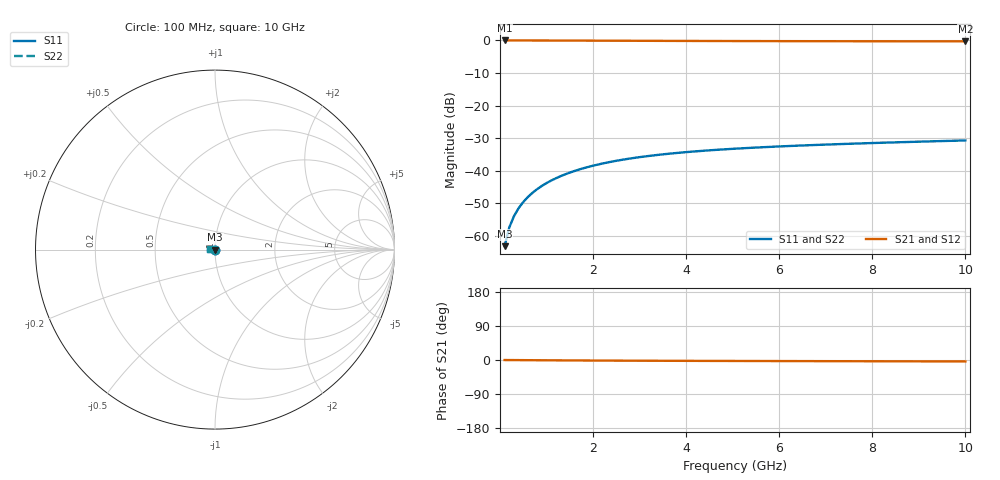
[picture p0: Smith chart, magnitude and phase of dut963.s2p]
! Touchstone file exported from HFSS 2024.1.0
!  File:  C:/UserFiles/LocalFiles/RDL_TSV_Batchsim/temp_TSV1_963_1779950617.aedt
!  Generated:  02:49:52 PM May 28, 2026
!  Design:  TSV1
!  Project:  temp_TSV1_963_1779950617
!  Setup:  Setup1
!  Solution:  Sweep
! Variables:
!  dtsv = 7.06um
!  hbump = 3um
!  htsv = 57.03um
!  lrdl = 252.1521522um
!  p = 40
!  p1 = 41.9um
!  t = 500um
!  trdl = 3um
!  wrdl = 24.89489489um
# GHz S MA R 50.000000
! Terminal data exported
! Port[1] = TSV22_T1
! Port[2] = TSV22_T2
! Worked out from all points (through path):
!   100 points, 100 MHz to 10 GHz, reference 50 ohm
!   highest |S21| = 0.00 dB at 100 MHz (marker M1); lowest = -0.3 dB at 10 GHz (marker M2)
!   lowest |S11| = -63.2 dB at 100 MHz (marker M3), VSWR 1.00, Z = 50 - j0.0655 ohm
!   |S11| at or under -10 dB: start of sweep to end of sweep
!   |S22| runs from -63.2 to -30.7 dB; largest |S21 - S12| = 1.3e-14
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0.1  0.0006895 -71.6  0.9997 -0.1  0.9997 -0.1  0.0006895 -71.6
! Gamma 0 0 0 0
! Port Impedance 50 0 50 0
0.2  0.001335 -83.1  0.9997 -0.2  0.9997 -0.2  0.001335 -83.1
0.3  0.001987 -88.3  0.9995 -0.2  0.9995 -0.2  0.001987 -88.3
0.4  0.002638 -91.8  0.9994 -0.3  0.9994 -0.3  0.002638 -91.8
0.5  0.003286 -94.6  0.9992 -0.4  0.9992 -0.4  0.003286 -94.6
0.6  0.003928 -97.1  0.999 -0.5  0.999 -0.5  0.003928 -97.1
0.7  0.004564 -99.3  0.9987 -0.6  0.9987 -0.6  0.004564 -99.3
0.8  0.005192 -101.4  0.9984 -0.6  0.9984 -0.6  0.005192 -101.4
0.9  0.005812 -103.4  0.9981 -0.7  0.9981 -0.7  0.005812 -103.4
1.1  0.007023 -107.2  0.9974 -0.8  0.9974 -0.8  0.007023 -107.2
1.4  0.008757 -112.5  0.9961 -1.0  0.9961 -1.0  0.008756 -112.5
1.6  0.009852 -115.9  0.9951 -1.2  0.9951 -1.2  0.009852 -115.9
1.8  0.0109 -119.1  0.9941 -1.3  0.9941 -1.3  0.0109 -119.1
2.1  0.01236 -123.8  0.9925 -1.5  0.9925 -1.5  0.01236 -123.8
2.5  0.01414 -129.5  0.9903 -1.7  0.9903 -1.7  0.01414 -129.5
2.9  0.01572 -134.9  0.9882 -1.8  0.9882 -1.8  0.01572 -134.9
3.4  0.01745 -141.0  0.9856 -2.0  0.9856 -2.0  0.01745 -141.0
4.2  0.01974 -149.6  0.982 -2.3  0.982 -2.3  0.01974 -149.6
5.1  0.0218 -158.0  0.9787 -2.6  0.9787 -2.6  0.0218 -158.0
6.7  0.02464 -170.4  0.9743 -3.0  0.9743 -3.0  0.02464 -170.4
8.4  0.02704 179.1  0.9711 -3.4  0.9711 -3.4  0.02704 179.1
10  0.02905 170.8  0.969 -3.8  0.969 -3.8  0.02905 170.8
